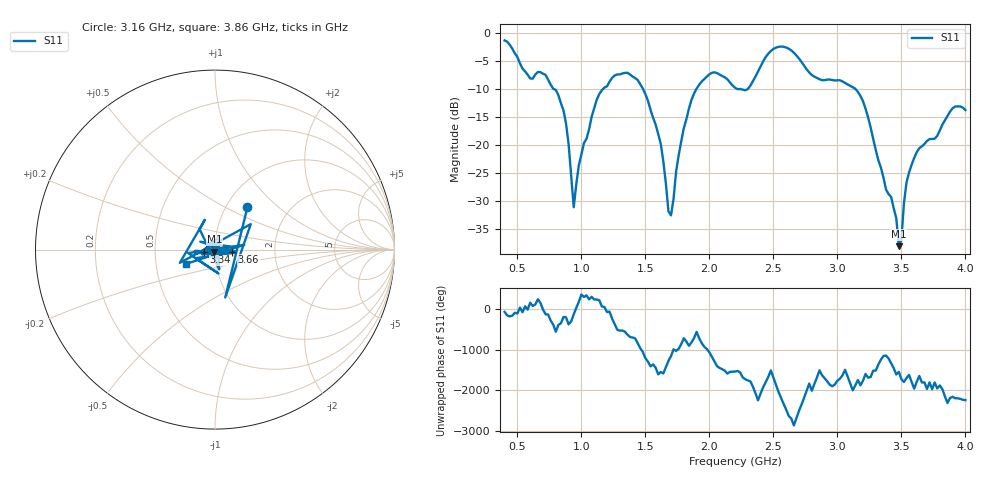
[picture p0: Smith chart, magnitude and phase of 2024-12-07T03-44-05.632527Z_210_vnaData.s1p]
!Created with skrf (http://scikit-rf.org).
# Hz S RI R 50.0
!freq ReS11 ImS11
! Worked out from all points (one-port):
!   181 points, 400 MHz to 4 GHz, reference 50 ohm
!   lowest |S11| = -38.1 dB at 3.48 GHz (marker M1), VSWR 1.03, Z = 49.6 - j1.19 ohm
!   |S11| at or under -10 dB: 779.2 MHz to 1.172 GHz (392.4 MHz wide, 40.2 % of centre); 1.48 GHz to 1.9 GHz (419.1 MHz wide, 24.8 % of centre); 3.139 GHz to end of sweep (the widest 3 of 4)
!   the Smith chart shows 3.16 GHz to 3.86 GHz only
!   S11 on the Smith chart (normalised r, x): 3.16 GHz: 1.25, +0.65; 3.34 GHz: 0.88, -0.02; 3.66 GHz: 1.21, -0.03; 3.86 GHz: 0.71, -0.12
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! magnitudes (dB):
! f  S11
! 400 MHz  -1.4
! 600 MHz  -8.2
! 720 MHz  -7.5
! 860 MHz  -13.9
! 900 MHz  -19.9
! 940 MHz  -31.1
! 980 MHz  -23.6
! 1.12 GHz  -11.9
! 1.3 GHz  -7.5
! 1.52 GHz  -12.2
! 1.62 GHz  -19.8
! 1.7 GHz  -32.6
! 1.76 GHz  -21.9
! 1.86 GHz  -12.0
! 1.94 GHz  -8.7
! 2.2 GHz  -9.8
! 2.3 GHz  -10.1
! 2.5 GHz  -2.9
! 2.66 GHz  -3.6
! 3.1 GHz  -9.5
! 3.16 GHz  -10.6
! 3.34 GHz  -24.1
! 3.46 GHz  -33.1
! 3.48 GHz  -38.1
! 3.56 GHz  -24.9
! 3.66 GHz  -20.3
! 3.86 GHz  -14.9
! 4 GHz  -13.8
